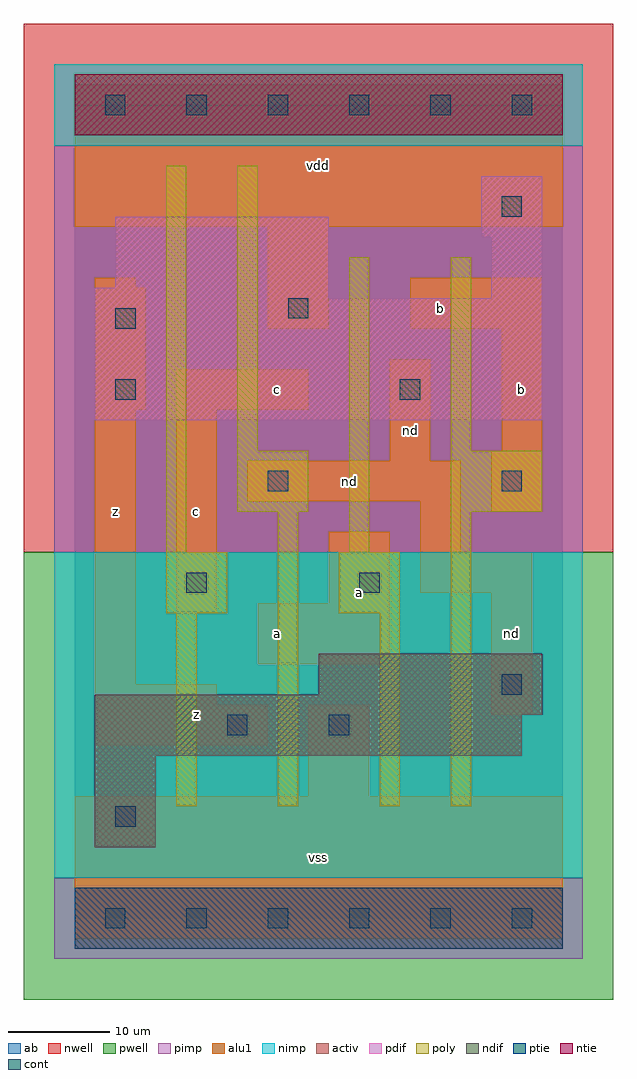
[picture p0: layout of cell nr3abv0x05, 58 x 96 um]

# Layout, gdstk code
import gdstk
lib = gdstk.Library(unit=1e-6, precision=1e-09)
def R(c, l, rs):  # rectangles x0, y0, x1, y1
    for r in rs: c.add(gdstk.rectangle(r[:2], r[2:], *l))
def A(c, l, x, y, w, h, nx, ny, dx, dy):  # array of equal rectangles
    R(c, l, [(x+i*dx, y+j*dy, x+i*dx+w, y+j*dy+h) for i in range(nx) for j in range(ny)])
ndif = (3, 0)
pdif = (4, 0)
ntie = (5, 0)
ptie = (6, 0)
cont = (25, 0)
pwell = (41, 0)
nwell = (42, 0)
activ = (43, 0)
pimp = (44, 0)
nimp = (45, 0)
poly = (46, 0)
alu1 = (49, 0)
ab = (63, 0)

nr3abv0x05 = lib.new_cell('nr3abv0x05')
R(nr3abv0x05, ndif, [(2,7,8,16), (2,16,44,20), (2,20,46,22), (24,22,46,26)])
R(nr3abv0x05, pdif, [(2,49,46,61), (2,61,25,62), (41,61,46,67), (4,62,25,69), (40,67,46,73)])
R(nr3abv0x05, ntie, [(0,77,48,83)])
R(nr3abv0x05, ptie, [(0,-3,48,3)])
A(nr3abv0x05, cont, 3, -1, 2, 2, 6, 2, 8, 80)
R(nr3abv0x05, cont, [(4,9,6,11), (15,18,17,20), (25,18,27,20), (42,22,44,24), (11,32,13,34), (28,32,30,34), (19,42,21,44), (42,42,44,44), (4,51,6,53), (32,51,34,53), (4,58,6,60), (21,59,23,61), (42,69,44,71)])
R(nr3abv0x05, pwell, [(-5,-8,53,36)])
R(nr3abv0x05, nwell, [(-5,36,53,88)])
R(nr3abv0x05, activ, [(0,-3,48,3), (2,7,8,16), (2,16,44,20), (2,20,46,22), (24,22,46,26), (2,49,46,61), (2,61,25,62), (41,61,46,67), (4,62,25,69), (40,67,46,73), (0,77,48,83)])
R(nr3abv0x05, pimp, [(-2,-4,50,4), (-2,36,50,76)])
R(nr3abv0x05, nimp, [(-2,4,50,36), (-2,76,50,84)])
R(nr3abv0x05, poly, [(10,11,12,30), (20,11,22,40), (30,11,32,30), (37,11,39,40), (9,30,15,36), (26,30,32,36), (9,36,11,74), (27,36,29,65), (16,40,23,46), (37,40,46,46), (16,46,18,74), (37,46,39,65)])
R(nr3abv0x05, alu1, [(0,-2,48,12), (23,12,29,21), (2,17,19,21), (41,20,45,32), (2,21,14,23), (2,23,6,50), (18,25,31,31), (10,30,14,50), (25,31,31,38), (34,32,45,36), (34,36,38,41), (41,40,46,46), (17,41,38,45), (31,45,35,55), (42,46,46,58), (2,50,7,62), (10,50,23,54), (19,58,25,68), (33,58,46,63), (2,62,6,63), (0,68,48,82)])
R(nr3abv0x05, ab, [(0,0,48,80)])
nr3abv0x05.add(gdstk.Label('nd', (33,48), layer=49, texttype=0))
nr3abv0x05.add(gdstk.Label('nd', (43,28), layer=49, texttype=0))
nr3abv0x05.add(gdstk.Label('nd', (27,43), layer=49, texttype=0))
nr3abv0x05.add(gdstk.Label('z', (4,40), layer=49, texttype=0))
nr3abv0x05.add(gdstk.Label('z', (12,20), layer=49, texttype=0))
nr3abv0x05.add(gdstk.Label('a', (20,28), layer=49, texttype=0))
nr3abv0x05.add(gdstk.Label('c', (12,40), layer=49, texttype=0))
nr3abv0x05.add(gdstk.Label('c', (20,52), layer=49, texttype=0))
nr3abv0x05.add(gdstk.Label('vss', (24,6), layer=49, texttype=0))
nr3abv0x05.add(gdstk.Label('a', (28,32), layer=49, texttype=0))
nr3abv0x05.add(gdstk.Label('vdd', (24,74), layer=49, texttype=0))
nr3abv0x05.add(gdstk.Label('b', (44,52), layer=49, texttype=0))
nr3abv0x05.add(gdstk.Label('b', (36,60), layer=49, texttype=0))

lib.write_gds('nr3abv0x05.gds')
